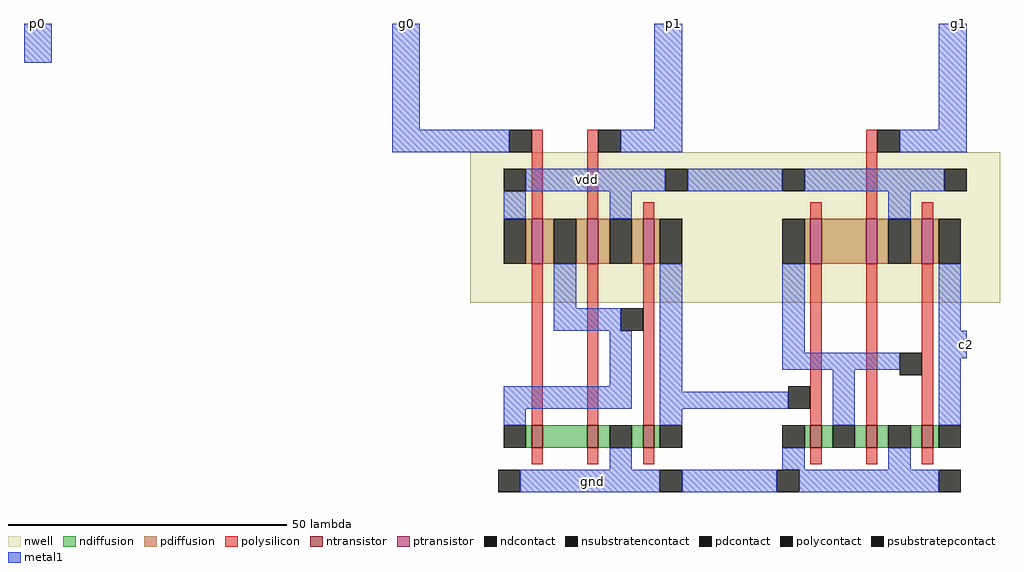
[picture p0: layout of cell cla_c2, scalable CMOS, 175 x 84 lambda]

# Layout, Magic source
magic
tech scmos
<< nwell >>
rect 32 -3 127 24
<< ntransistor >>
rect 43 -29 45 -25
rect 53 -29 55 -25
rect 63 -29 65 -25
rect 93 -29 95 -25
rect 103 -29 105 -25
rect 113 -29 115 -25
<< ptransistor >>
rect 43 4 45 12
rect 53 4 55 12
rect 63 4 65 12
rect 93 4 95 12
rect 103 4 105 12
rect 113 4 115 12
<< ndiffusion >>
rect 42 -29 43 -25
rect 45 -29 53 -25
rect 55 -29 57 -25
rect 61 -29 63 -25
rect 65 -29 66 -25
rect 92 -29 93 -25
rect 95 -29 97 -25
rect 101 -29 103 -25
rect 105 -29 107 -25
rect 111 -29 113 -25
rect 115 -29 116 -25
<< pdiffusion >>
rect 42 4 43 12
rect 45 4 47 12
rect 51 4 53 12
rect 55 4 57 12
rect 61 4 63 12
rect 65 4 66 12
rect 92 4 93 12
rect 95 4 103 12
rect 105 4 107 12
rect 111 4 113 12
rect 115 4 116 12
<< ndcontact >>
rect 38 -29 42 -25
rect 57 -29 61 -25
rect 66 -29 70 -25
rect 88 -29 92 -25
rect 97 -29 101 -25
rect 107 -29 111 -25
rect 116 -29 120 -25
<< pdcontact >>
rect 38 4 42 12
rect 47 4 51 12
rect 57 4 61 12
rect 66 4 70 12
rect 88 4 92 12
rect 107 4 111 12
rect 116 4 120 12
<< psubstratepcontact >>
rect 37 -37 41 -33
rect 66 -37 70 -33
rect 87 -37 91 -33
rect 116 -37 120 -33
<< nsubstratencontact >>
rect 38 17 42 21
rect 67 17 71 21
rect 88 17 92 21
rect 117 17 121 21
<< polysilicon >>
rect 43 12 45 28
rect 53 12 55 28
rect 63 12 65 15
rect 93 12 95 15
rect 103 12 105 28
rect 113 12 115 15
rect 43 -25 45 4
rect 53 -25 55 4
rect 63 -25 65 4
rect 93 -25 95 4
rect 103 -25 105 4
rect 113 -25 115 4
rect 43 -32 45 -29
rect 53 -32 55 -29
rect 63 -32 65 -29
rect 93 -32 95 -29
rect 103 -32 105 -29
rect 113 -32 115 -29
<< polycontact >>
rect 39 24 43 28
rect 55 24 59 28
rect 105 24 109 28
rect 59 -8 63 -4
rect 89 -22 93 -18
rect 109 -16 113 -12
<< metal1 >>
rect -48 40 -43 47
rect 18 28 23 47
rect 65 28 70 47
rect 116 28 121 47
rect 18 24 39 28
rect 59 24 70 28
rect 109 24 121 28
rect 42 17 67 21
rect 71 17 88 21
rect 92 17 117 21
rect 38 12 42 17
rect 57 12 61 17
rect 107 12 111 17
rect 47 -4 51 4
rect 47 -8 59 -4
rect 57 -18 61 -8
rect 38 -22 61 -18
rect 66 -19 70 4
rect 88 -12 92 4
rect 116 -8 120 4
rect 88 -15 109 -12
rect 66 -22 89 -19
rect 38 -25 42 -22
rect 66 -25 70 -22
rect 97 -25 101 -15
rect 116 -13 121 -8
rect 116 -25 120 -13
rect 57 -33 61 -29
rect 88 -33 92 -29
rect 107 -33 111 -29
rect 41 -37 66 -33
rect 70 -37 87 -33
rect 91 -37 116 -33
<< labels >>
rlabel metal1 -47 47 -44 47 4 p0
rlabel metal1 19 47 22 47 6 g0
rlabel metal1 67 47 70 47 5 p1
rlabel metal1 118 47 121 47 6 g1
rlabel metal1 53 19 53 19 5 vdd
rlabel metal1 54 -35 54 -35 1 gnd
rlabel metal1 121 -13 121 -8 1 c2
<< end >>
